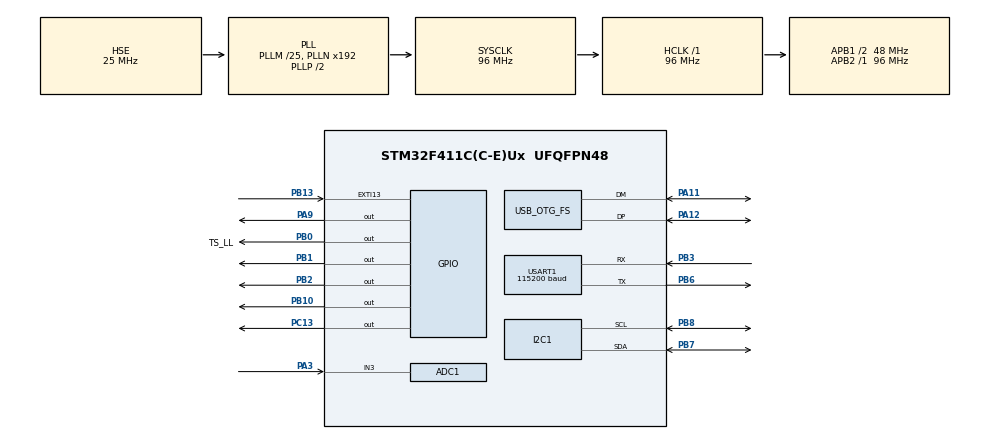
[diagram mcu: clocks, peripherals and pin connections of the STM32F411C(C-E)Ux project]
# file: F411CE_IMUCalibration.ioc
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ADC1.Channel-0\#ChannelRegularConversion=ADC_CHANNEL_3
ADC1.ContinuousConvMode=ENABLE
ADC1.DMAContinuousRequests=ENABLE
ADC1.EOCSelection=ADC_EOC_SEQ_CONV
ADC1.NbrOfConversionFlag=1
ADC1.Rank-0\#ChannelRegularConversion=1
ADC1.SamplingTime-0\#ChannelRegularConversion=ADC_SAMPLETIME_3CYCLES
ADC1.ScanConvMode=DISABLE
ADC1.master=1
Dma.ADC1.0.Direction=DMA_PERIPH_TO_MEMORY
Dma.ADC1.0.FIFOMode=DMA_FIFOMODE_DISABLE
Dma.ADC1.0.Instance=DMA2_Stream0
Dma.ADC1.0.MemDataAlignment=DMA_MDATAALIGN_HALFWORD
Dma.ADC1.0.MemInc=DMA_MINC_ENABLE
Dma.ADC1.0.Mode=DMA_NORMAL
Dma.ADC1.0.PeriphDataAlignment=DMA_PDATAALIGN_HALFWORD
Dma.ADC1.0.PeriphInc=DMA_PINC_DISABLE
Dma.ADC1.0.Priority=DMA_PRIORITY_LOW
Dma.I2C1_RX.1.Direction=DMA_PERIPH_TO_MEMORY
Dma.I2C1_RX.1.FIFOMode=DMA_FIFOMODE_DISABLE
Dma.I2C1_RX.1.Instance=DMA1_Stream0
Dma.I2C1_RX.1.MemDataAlignment=DMA_MDATAALIGN_BYTE
Dma.I2C1_RX.1.MemInc=DMA_MINC_ENABLE
Dma.I2C1_RX.1.Mode=DMA_NORMAL
Dma.I2C1_RX.1.PeriphDataAlignment=DMA_PDATAALIGN_BYTE
Dma.I2C1_RX.1.PeriphInc=DMA_PINC_DISABLE
Dma.I2C1_RX.1.Priority=DMA_PRIORITY_LOW
Dma.Request0=ADC1
Dma.Request1=I2C1_RX
Dma.Request2=USART1_TX
Dma.Request3=USART1_RX
Dma.USART1_RX.3.Direction=DMA_PERIPH_TO_MEMORY
Dma.USART1_RX.3.FIFOMode=DMA_FIFOMODE_DISABLE
Dma.USART1_RX.3.Instance=DMA2_Stream2
Dma.USART1_RX.3.MemDataAlignment=DMA_MDATAALIGN_BYTE
Dma.USART1_RX.3.MemInc=DMA_MINC_ENABLE
Dma.USART1_RX.3.Mode=DMA_NORMAL
Dma.USART1_RX.3.PeriphDataAlignment=DMA_PDATAALIGN_BYTE
Dma.USART1_RX.3.PeriphInc=DMA_PINC_DISABLE
Dma.USART1_RX.3.Priority=DMA_PRIORITY_MEDIUM
Dma.USART1_TX.2.Direction=DMA_MEMORY_TO_PERIPH
Dma.USART1_TX.2.FIFOMode=DMA_FIFOMODE_DISABLE
Dma.USART1_TX.2.Instance=DMA2_Stream7
Dma.USART1_TX.2.MemDataAlignment=DMA_MDATAALIGN_BYTE
Dma.USART1_TX.2.MemInc=DMA_MINC_ENABLE
Dma.USART1_TX.2.Mode=DMA_NORMAL
Dma.USART1_TX.2.PeriphDataAlignment=DMA_PDATAALIGN_BYTE
Dma.USART1_TX.2.PeriphInc=DMA_PINC_DISABLE
Dma.USART1_TX.2.Priority=DMA_PRIORITY_VERY_HIGH
Mcu.Family=STM32F4
Mcu.Name=STM32F411C(C-E)Ux
Mcu.Package=UFQFPN48
NVIC.DMA1_Stream0_IRQn=true\:0\:0\:false\:false\:true\:false\:true
NVIC.DMA2_Stream0_IRQn=true\:0\:0\:false\:false\:true\:false\:true
NVIC.DMA2_Stream2_IRQn=true\:0\:0\:false\:false\:true\:false\:true
NVIC.DMA2_Stream7_IRQn=true\:0\:0\:false\:false\:true\:false\:true
NVIC.EXTI15_10_IRQn=true\:1\:0\:true\:false\:true\:true\:true
NVIC.I2C1_ER_IRQn=true\:0\:0\:false\:false\:true\:true\:true
NVIC.I2C1_EV_IRQn=true\:0\:0\:true\:false\:true\:true\:true
NVIC.OTG_FS_IRQn=true\:0\:0\:false\:false\:true\:false\:true
NVIC.PriorityGroup=NVIC_PRIORITYGROUP_4
NVIC.TIM1_TRG_COM_TIM11_IRQn=true\:0\:0\:false\:false\:true\:true\:true
NVIC.TIM1_UP_TIM10_IRQn=true\:3\:0\:true\:false\:true\:true\:true
NVIC.USART1_IRQn=true\:1\:0\:true\:false\:true\:true\:true
PA11.Mode=Device_Only
PA11.Signal=USB_OTG_FS_DM
PA12.Mode=Device_Only
PA12.Signal=USB_OTG_FS_DP
PA13.Mode=Serial_Wire
PA13.Signal=SYS_JTMS-SWDIO
PA14.Mode=Serial_Wire
PA14.Signal=SYS_JTCK-SWCLK
PA3.Signal=ADCx_IN3
PA9.Signal=GPIO_Output
PB0.GPIO_Label=TS_LL
PB0.Signal=GPIO_Output
PB1.Signal=GPIO_Output
PB10.Signal=GPIO_Output
PB13.Signal=GPXTI13
PB2.Signal=GPIO_Output
PB3.Mode=Asynchronous
PB3.Signal=USART1_RX
PB6.Mode=Asynchronous
PB6.Signal=USART1_TX
PB7.Mode=I2C
PB7.Signal=I2C1_SDA
PB8.Mode=I2C
PB8.Signal=I2C1_SCL
PC13-ANTI_TAMP.Signal=GPIO_Output
PH0\ -\ OSC_IN.Mode=HSE-External-Oscillator
PH0\ -\ OSC_IN.Signal=RCC_OSC_IN
PH1\ -\ OSC_OUT.Mode=HSE-External-Oscillator
PH1\ -\ OSC_OUT.Signal=RCC_OSC_OUT
ProjectManager.HeapSize=0x200
ProjectManager.StackSize=0x400
ProjectManager.TargetToolchain=STM32CubeIDE
RCC.48MHZClocksFreq_Value=48000000
RCC.AHBFreq_Value=96000000
RCC.APB1CLKDivider=RCC_HCLK_DIV2
RCC.APB1Freq_Value=48000000
RCC.APB1TimFreq_Value=96000000
RCC.APB2Freq_Value=96000000
RCC.APB2TimFreq_Value=96000000
RCC.CortexFreq_Value=96000000
RCC.HCLKFreq_Value=96000000
RCC.HSE_VALUE=25000000
RCC.HSI_VALUE=16000000
RCC.LSE_VALUE=32768
RCC.PLLM=25
RCC.SYSCLKFreq_VALUE=96000000
RCC.SYSCLKSource=RCC_SYSCLKSOURCE_PLLCLK
RCC.VCOOutputFreq_Value=192000000
SH.ADCx_IN3.0=ADC1_IN3,IN3
TIM10.Period=150-1
TIM10.Prescaler=96-1
TIM11.Period=10000 - 1
TIM11.Prescaler=96 - 1
TIM9.Prescaler=96-1
USART1.BaudRate=115200
USART1.VirtualMode=VM_ASYNC
USB_DEVICE.CLASS_NAME_FS=CDC
USB_DEVICE.VirtualMode=Cdc
USB_DEVICE.VirtualModeFS=Cdc_FS
USB_OTG_FS.VirtualMode=Device_Only
VP_TIM10_VS_ClockSourceINT.Mode=Enable_Timer
VP_TIM11_VS_ClockSourceINT.Mode=Enable_Timer
VP_TIM5_VS_ClockSourceINT.Mode=Internal
VP_TIM9_VS_ClockSourceINT.Mode=Internal
VP_USB_DEVICE_VS_USB_DEVICE_CDC_FS.Mode=CDC_FS
board=custom

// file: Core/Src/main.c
/* USER CODE BEGIN Header */
/**
  ******************************************************************************
  * @file           : main.c
  * @brief          : Main program body
  ******************************************************************************
  * @attention
  *
  * Copyright (c) 2022 STMicroelectronics.
  * All rights reserved.
  *
  * This software is licensed under terms that can be found in the LICENSE file
  * in the root directory of this software component.
  * If no LICENSE file comes with this software, it is provided AS-IS.
  *
  ******************************************************************************
  */
/* USER CODE END Header */
#include "main.h"
#include "usb_device.h"

ADC_HandleTypeDef hadc1;
DMA_HandleTypeDef hdma_adc1;

I2C_HandleTypeDef hi2c1;
DMA_HandleTypeDef hdma_i2c1_rx;

TIM_HandleTypeDef htim5;
TIM_HandleTypeDef htim9;
TIM_HandleTypeDef htim10;
TIM_HandleTypeDef htim11;

UART_HandleTypeDef huart1;
DMA_HandleTypeDef hdma_usart1_tx;
DMA_HandleTypeDef hdma_usart1_rx;

/* USER CODE BEGIN PV */
extern uint8_t buffer[64]; //receive buffer from USB
/* USER CODE END PV */

void SystemClock_Config(void);
static void MX_GPIO_Init(void);
static void MX_USART1_UART_Init(void);
static void MX_ADC1_Init(void);
static void MX_I2C1_Init(void);
static void MX_TIM11_Init(void);
static void MX_TIM9_Init(void);
static void MX_TIM5_Init(void);
static void MX_DMA_Init(void);
static void MX_TIM10_Init(void);

int main(void)
{

	/* MCU Configuration--------------------------------------------------------*/

	/* Reset of all peripherals, Initializes the Flash interface and the Systick. */
	HAL_Init();

	/* Configure the system clock */
	SystemClock_Config();

	/* Initialize all configured peripherals */
	MX_GPIO_Init();
	MX_USB_DEVICE_Init();
	MX_USART1_UART_Init();
	MX_ADC1_Init();
	MX_I2C1_Init();
	MX_TIM11_Init();
	MX_TIM9_Init();
	MX_TIM5_Init();
	MX_DMA_Init();
	MX_TIM10_Init();
	/* USER CODE BEGIN 2 */

	//Initialization of IMU Variables
	static const uint8_t BNO055_ADDR = 0x28 << 1; //Left shift needed due to 8-bit communication
	static const uint8_t EUL_ADDR = 0x1A; //Found in BNO055 Documentation
	static const uint8_t PWR_MODE = 0x3E; //BNO055 Doc
	static const uint8_t OPR_MODE = 0x3D; //BNO055 Doc
	static const uint8_t UNIT_SEL = 0x3B; //BNO055 Doc
	static const uint8_t AXIS_MAP_SIGN = 0x42; //BNO055 Doc
	static const uint8_t AXIS_MAP_CONFIG = 0x41; //BNO055 Doc
	static const uint8_t GYR_ADDR = 0x14; //Address starting with angular velocity + angular position after 12 bytes
	static const uint8_t CAL_STATUS = 0x35; //BNO055 Doc
	static const uint8_t CAL_CONSTANTS = 0x55;
	static const uint8_t CHIP_ID = 0x00;

	//Simplify this whole section? Should be able to make only one calculation from buf to float value
	int16_t eulheading = 0; //Could I simplify this? probably.. Just make sure it works for now
	int16_t eulroll = 0;
	int16_t eulpitch = 0;

	int16_t gyrx = 0;
	int16_t gyry = 0;
	int16_t gyrz = 0;

	//IMU Parameters:
	float EulerX = 0; //Estimated angular displacement of X axis rotation (gamma)
	float EulerY = 0; //Estimated angular displacement of Y axis rotation (beta)
	float EulerZ = 0; //Estimated angular displacement of Z axis rotation

	float AngularVelX = 0; //Estimated angular velocity of X axis rotation (gamma_dot)
	float AngularVelY = 0; //Estimated angular velocity of Y axis rotation (beta_dot)
	float AngularVelZ = 0; //Estimated angular velocity of Z axis rotation

	HAL_StatusTypeDef ret; //StatusDef to return any errors with IMU communication

	char str[64] = {0}; //for messages to send through I2C

	uint8_t buf[24] = {0}; //Modify size to work with class
	uint8_t calibration = 0;
	char UXinput = 0;

	//Clear buffer and message for next prompt
	memset(buffer, '\0', sizeof(buffer));  // clear the buffer for next message

	HAL_Delay(1000);

	//Rest of initialization
	//Note: Since during system start-up (no multitasking requirement), HAL_Delays are used.

	buf[0] = 0x00; //Put IMU Into Config Mode (How... did I forget this...)

	ret = HAL_I2C_Mem_Write(&hi2c1, BNO055_ADDR, OPR_MODE, I2C_MEMADD_SIZE_8BIT, buf, 1, HAL_MAX_DELAY);
	if ( ret != HAL_OK ) //If BNO055 Device is not found, throw error. Will be important for debugging
	{

	}

	HAL_Delay(100);

	buf[0] = 0x00; //Test for PWR MODE

	ret = HAL_I2C_Mem_Write(&hi2c1, BNO055_ADDR, PWR_MODE, I2C_MEMADD_SIZE_8BIT, buf, 1, HAL_MAX_DELAY);
	if ( ret != HAL_OK ) //If BNO055 Device is not found, throw error. Will be important for debugging
	{

	}

	HAL_Delay(100);

	buf[0] = 0x00; //Set UNIT_SEL for degrees in model

	ret = HAL_I2C_Mem_Write(&hi2c1, BNO055_ADDR, UNIT_SEL, I2C_MEMADD_SIZE_8BIT, buf, 1, HAL_MAX_DELAY);
	if ( ret != HAL_OK ) //If BNO055 Device is not found, throw error. Will be important for debugging
	{

	}

	HAL_Delay(100);

	buf[0] = 0x01; //Configure Axis to be negative sign of both y and z axes due to how BNO055 is attached to platform.

	ret = HAL_I2C_Mem_Write(&hi2c1, BNO055_ADDR, AXIS_MAP_SIGN, I2C_MEMADD_SIZE_8BIT, buf, 1, HAL_MAX_DELAY);
	if ( ret != HAL_OK ) //If BNO055 Device is not found, throw error. Will be important for debugging
	{

	}

	HAL_Delay(100);

	buf[0] = 0x24; //Configure Axis.

	ret = HAL_I2C_Mem_Write(&hi2c1, BNO055_ADDR, AXIS_MAP_CONFIG, I2C_MEMADD_SIZE_8BIT, buf, 1, HAL_MAX_DELAY);
	if ( ret != HAL_OK ) //If BNO055 Device is not found, throw error. Will be important for debugging
	{

	}

	//*====================================*
	// WRITE CALIBRATION CONSTANTS TO IMU
	//*====================================*

	HAL_Delay(100);

	buf[0] = 0x0C; //Put IMU into IMU config mode, starts IMU.

	ret = HAL_I2C_Mem_Write(&hi2c1, BNO055_ADDR, OPR_MODE, I2C_MEMADD_SIZE_8BIT, buf, 1, HAL_MAX_DELAY);
	if ( ret != HAL_OK ) //If BNO055 Device is not found, throw error. Will be important for debugging
	{

	}

	/* USER CODE END 2 */

	/* Infinite loop */
	/* USER CODE BEGIN WHILE */
	while (1)
	{

		HAL_Delay(1000);

		ret = HAL_I2C_Mem_Read(&hi2c1, BNO055_ADDR, CAL_STATUS, I2C_MEMADD_SIZE_8BIT, buf, 1, HAL_MAX_DELAY);
		if ( ret != HAL_OK ) //If BNO055 Device is not found, throw error. Will be important for debugging
		{
			sprintf(str,"Error, cannot connect to IMU\n");
			CDC_Transmit_FS((uint8_t *) str, strlen(str));
		}
		else
		{
			sprintf(str,"Calibration Register: %u\n", buf[0]);
			CDC_Transmit_FS((uint8_t *) str, strlen(str));
		}

		if (buf[0] == 60)
		{
			sprintf(str,"IMU Mode fully calibrated. Gathering values...\n");
			CDC_Transmit_FS((uint8_t *) str, strlen(str));

			//Set IMU into CONFIG mode:
			buf[0] = 0x00; //Put IMU into IMU config mode, starts IMU.

			ret = HAL_I2C_Mem_Write(&hi2c1, BNO055_ADDR, OPR_MODE, I2C_MEMADD_SIZE_8BIT, buf, 1, HAL_MAX_DELAY);
			if ( ret != HAL_OK ) //If BNO055 Device is not found, throw error. Will be important for debugging
			{
				sprintf(str,"Error, cannot connect to IMU\n");
				CDC_Transmit_FS((uint8_t *) str, strlen(str));
			}

			HAL_Delay(10);

			//Read from calibration constant registers:
			ret = HAL_I2C_Mem_Read(&hi2c1, BNO055_ADDR, CAL_CONSTANTS, I2C_MEMADD_SIZE_8BIT, buf, 22, HAL_MAX_DELAY);
			if ( ret != HAL_OK ) //If BNO055 Device is not found, throw error. Will be important for debugging
			{
				sprintf(str,"Error, cannot connect to IMU\n");
				CDC_Transmit_FS((uint8_t *) str, strlen(str));
			}
			else
			{
				sprintf(str,"Values of Calibration Constants:\n");
				CDC_Transmit_FS((uint8_t *) str, strlen(str));

				for(int i = 0; i < 22; i++)
				{
					sprintf(str,"Buffer [%u]: %u\n", i, buf[i]);
					CDC_Transmit_FS((uint8_t *) str, strlen(str));
					HAL_Delay(20);
				}

				HAL_Delay(10000);

				sprintf(str,"Now, value readouts. Press c to read new values, e to end.\n");
				CDC_Transmit_FS((uint8_t *) str, strlen(str));

				//Set IMU into NDOF mode:
				buf[0] = 0x0C; //Put IMU into NDOF, starts IMU.

				ret = HAL_I2C_Mem_Write(&hi2c1, BNO055_ADDR, OPR_MODE, I2C_MEMADD_SIZE_8BIT, buf, 1, HAL_MAX_DELAY);
				if ( ret != HAL_OK ) //If BNO055 Device is not found, throw error. Will be important for debugging
				{
					sprintf(str,"Error, cannot connect to IMU\n");
					CDC_Transmit_FS((uint8_t *) str, strlen(str));
				}

				HAL_Delay(10);

				while(1)
				{
					HAL_Delay(1000);

					HAL_I2C_Mem_Read(&hi2c1, BNO055_ADDR, GYR_ADDR, I2C_MEMADD_SIZE_8BIT, buf, 12, HAL_MAX_DELAY);

					gyrx = (int16_t)buf[0]+(buf[1] << 8); //Bit-shift for MSB register
					gyry = (int16_t)buf[2]+(buf[3] << 8); //Bit-shift for MSB register
					gyrz = (int16_t)buf[4]+(buf[5] << 8); //Bit-shift for MSB register

					eulheading = (int16_t)buf[6]+(buf[7] << 8); //Bit-shift for MSB register
					eulroll = (int16_t)buf[8]+(buf[9] << 8); //Bit-shift for MSB register
					eulpitch = (int16_t)buf[10]+(buf[11] << 8); //Bit-shift for MSB register

					EulerZ = (float)eulheading/(float)16; //Convert to 16 LSB to 1 Degree
					EulerY = (float)eulroll/(float)16; //Convert to 16 LSB to 1 Degree
					EulerX = -(float)eulpitch/(float)16; //Convert to 16 LSB to 1 Degree

					AngularVelX = -(float)gyrx/(float)16;
					AngularVelY = -(float)gyry/(float)16;
					AngularVelZ = (float)gyrz/(float)16;

					//Stretch what an Interrupt can do to see what's possible
					sprintf(str,"X: %.2f Xdot: %.2f Y: %.2f Ydot: %.2f\n",
							EulerX, AngularVelX, EulerY, AngularVelY);

					CDC_Transmit_FS((uint8_t *) str, strlen(str));

					if (buffer[0] != '\0')
					{

						UXinput = '\0';

						UXinput = buffer[0];

						//Clear buffer and message for next prompt
						memset(buffer, '\0', sizeof(buffer));  // clear the buffer for next message

						if(UXinput == 'c')
						{
							//Read from calibration constant registers:
							ret = HAL_I2C_Mem_Read(&hi2c1, BNO055_ADDR, CAL_CONSTANTS, I2C_MEMADD_SIZE_8BIT, buf, 22, HAL_MAX_DELAY);
							if ( ret != HAL_OK ) //If BNO055 Device is not found, throw error. Will be important for debugging
							{
								sprintf(str,"Error, cannot connect to IMU\n");
								CDC_Transmit_FS((uint8_t *) str, strlen(str));
							}
							else
							{
								sprintf(str,"Values of New Calibration Constants:\n");
								CDC_Transmit_FS((uint8_t *) str, strlen(str));

								for(int i = 0; i < 22; i++)
								{
									sprintf(str,"Buffer [%u]: %u\n", i, buf[i]);
									CDC_Transmit_FS((uint8_t *) str, strlen(str));
									HAL_Delay(5);
								}

								HAL_Delay(10000);
								sprintf(str,"Now, value readouts. Press c to read new values, e to end.\n");
								CDC_Transmit_FS((uint8_t *) str, strlen(str));
							}
						}
						else if (UXinput == 'e')
						{
							sprintf(str,"Program Ending.");
							CDC_Transmit_FS((uint8_t *) str, strlen(str));

							HAL_Delay(1000);

							return;
						}
					}
				}

			}
		}
	}
}

    /* USER CODE END WHILE */

void SystemClock_Config(void)
{
  RCC_OscInitTypeDef RCC_OscInitStruct = {0};
  RCC_ClkInitTypeDef RCC_ClkInitStruct = {0};

  /** Configure the main internal regulator output voltage
  */
  __HAL_RCC_PWR_CLK_ENABLE();
  __HAL_PWR_VOLTAGESCALING_CONFIG(PWR_REGULATOR_VOLTAGE_SCALE1);
  /** Initializes the RCC Oscillators according to the specified parameters
  * in the RCC_OscInitTypeDef structure.
  */
  RCC_OscInitStruct.OscillatorType = RCC_OSCILLATORTYPE_HSE;
  RCC_OscInitStruct.HSEState = RCC_HSE_ON;
  RCC_OscInitStruct.PLL.PLLState = RCC_PLL_ON;
  RCC_OscInitStruct.PLL.PLLSource = RCC_PLLSOURCE_HSE;
  RCC_OscInitStruct.PLL.PLLM = 25;
  RCC_OscInitStruct.PLL.PLLN = 192;
  RCC_OscInitStruct.PLL.PLLP = RCC_PLLP_DIV2;
  RCC_OscInitStruct.PLL.PLLQ = 4;
  if (HAL_RCC_OscConfig(&RCC_OscInitStruct) != HAL_OK)
  {
    Error_Handler();
  }
  /** Initializes the CPU, AHB and APB buses clocks
  */
  RCC_ClkInitStruct.ClockType = RCC_CLOCKTYPE_HCLK|RCC_CLOCKTYPE_SYSCLK
                              |RCC_CLOCKTYPE_PCLK1|RCC_CLOCKTYPE_PCLK2;
  RCC_ClkInitStruct.SYSCLKSource = RCC_SYSCLKSOURCE_PLLCLK;
  RCC_ClkInitStruct.AHBCLKDivider = RCC_SYSCLK_DIV1;
  RCC_ClkInitStruct.APB1CLKDivider = RCC_HCLK_DIV2;
  RCC_ClkInitStruct.APB2CLKDivider = RCC_HCLK_DIV1;

  if (HAL_RCC_ClockConfig(&RCC_ClkInitStruct, FLASH_LATENCY_3) != HAL_OK)
  {
    Error_Handler();
  }
}

static void MX_ADC1_Init(void)
{

  ADC_ChannelConfTypeDef sConfig = {0};

  /** Configure the global features of the ADC (Clock, Resolution, Data Alignment and number of conversion)
  */
  hadc1.Instance = ADC1;
  hadc1.Init.ClockPrescaler = ADC_CLOCK_SYNC_PCLK_DIV4;
  hadc1.Init.Resolution = ADC_RESOLUTION_12B;
  hadc1.Init.ScanConvMode = DISABLE;
  hadc1.Init.ContinuousConvMode = ENABLE;
  hadc1.Init.DiscontinuousConvMode = DISABLE;
  hadc1.Init.ExternalTrigConvEdge = ADC_EXTERNALTRIGCONVEDGE_NONE;
  hadc1.Init.ExternalTrigConv = ADC_SOFTWARE_START;
  hadc1.Init.DataAlign = ADC_DATAALIGN_RIGHT;
  hadc1.Init.NbrOfConversion = 1;
  hadc1.Init.DMAContinuousRequests = ENABLE;
  hadc1.Init.EOCSelection = ADC_EOC_SEQ_CONV;
  if (HAL_ADC_Init(&hadc1) != HAL_OK)
  {
    Error_Handler();
  }
  /** Configure for the selected ADC regular channel its corresponding rank in the sequencer and its sample time.
  */
  sConfig.Channel = ADC_CHANNEL_3;
  sConfig.Rank = 1;
  sConfig.SamplingTime = ADC_SAMPLETIME_3CYCLES;
  if (HAL_ADC_ConfigChannel(&hadc1, &sConfig) != HAL_OK)
  {
    Error_Handler();
  }

}

static void MX_I2C1_Init(void)
{

  hi2c1.Instance = I2C1;
  hi2c1.Init.ClockSpeed = 100000;
  hi2c1.Init.DutyCycle = I2C_DUTYCYCLE_2;
  hi2c1.Init.OwnAddress1 = 0;
  hi2c1.Init.AddressingMode = I2C_ADDRESSINGMODE_7BIT;
  hi2c1.Init.DualAddressMode = I2C_DUALADDRESS_DISABLE;
  hi2c1.Init.OwnAddress2 = 0;
  hi2c1.Init.GeneralCallMode = I2C_GENERALCALL_DISABLE;
  hi2c1.Init.NoStretchMode = I2C_NOSTRETCH_DISABLE;
  if (HAL_I2C_Init(&hi2c1) != HAL_OK)
  {
    Error_Handler();
  }

}

static void MX_TIM5_Init(void)
{

  TIM_ClockConfigTypeDef sClockSourceConfig = {0};
  TIM_MasterConfigTypeDef sMasterConfig = {0};

  htim5.Instance = TIM5;
  htim5.Init.Prescaler = 0;
  htim5.Init.CounterMode = TIM_COUNTERMODE_UP;
  htim5.Init.Period = 4294967295;
  htim5.Init.ClockDivision = TIM_CLOCKDIVISION_DIV1;
  htim5.Init.AutoReloadPreload = TIM_AUTORELOAD_PRELOAD_DISABLE;
  if (HAL_TIM_Base_Init(&htim5) != HAL_OK)
  {
    Error_Handler();
  }
  sClockSourceConfig.ClockSource = TIM_CLOCKSOURCE_INTERNAL;
  if (HAL_TIM_ConfigClockSource(&htim5, &sClockSourceConfig) != HAL_OK)
  {
    Error_Handler();
  }
  sMasterConfig.MasterOutputTrigger = TIM_TRGO_RESET;
  sMasterConfig.MasterSlaveMode = TIM_MASTERSLAVEMODE_DISABLE;
  if (HAL_TIMEx_MasterConfigSynchronization(&htim5, &sMasterConfig) != HAL_OK)
  {
    Error_Handler();
  }

}

static void MX_TIM9_Init(void)
{

  TIM_ClockConfigTypeDef sClockSourceConfig = {0};

  htim9.Instance = TIM9;
  htim9.Init.Prescaler = 96-1;
  htim9.Init.CounterMode = TIM_COUNTERMODE_UP;
  htim9.Init.Period = 65535;
  htim9.Init.ClockDivision = TIM_CLOCKDIVISION_DIV1;
  htim9.Init.AutoReloadPreload = TIM_AUTORELOAD_PRELOAD_DISABLE;
  if (HAL_TIM_Base_Init(&htim9) != HAL_OK)
  {
    Error_Handler();
  }
  sClockSourceConfig.ClockSource = TIM_CLOCKSOURCE_INTERNAL;
  if (HAL_TIM_ConfigClockSource(&htim9, &sClockSourceConfig) != HAL_OK)
  {
    Error_Handler();
  }

}

static void MX_TIM10_Init(void)
{

  htim10.Instance = TIM10;
  htim10.Init.Prescaler = 96-1;
  htim10.Init.CounterMode = TIM_COUNTERMODE_UP;
  htim10.Init.Period = 150-1;
  htim10.Init.ClockDivision = TIM_CLOCKDIVISION_DIV1;
  htim10.Init.AutoReloadPreload = TIM_AUTORELOAD_PRELOAD_DISABLE;
  if (HAL_TIM_Base_Init(&htim10) != HAL_OK)
  {
    Error_Handler();
  }

}

static void MX_TIM11_Init(void)
{

  htim11.Instance = TIM11;
  htim11.Init.Prescaler = 96 - 1;
  htim11.Init.CounterMode = TIM_COUNTERMODE_UP;
  htim11.Init.Period = 10000 - 1;
  htim11.Init.ClockDivision = TIM_CLOCKDIVISION_DIV1;
  htim11.Init.AutoReloadPreload = TIM_AUTORELOAD_PRELOAD_DISABLE;
  if (HAL_TIM_Base_Init(&htim11) != HAL_OK)
  {
    Error_Handler();
  }

}

static void MX_USART1_UART_Init(void)
{

  huart1.Instance = USART1;
  huart1.Init.BaudRate = 115200;
  huart1.Init.WordLength = UART_WORDLENGTH_8B;
  huart1.Init.StopBits = UART_STOPBITS_1;
  huart1.Init.Parity = UART_PARITY_NONE;
  huart1.Init.Mode = UART_MODE_TX_RX;
  huart1.Init.HwFlowCtl = UART_HWCONTROL_NONE;
  huart1.Init.OverSampling = UART_OVERSAMPLING_16;
  if (HAL_UART_Init(&huart1) != HAL_OK)
  {
    Error_Handler();
  }

}

static void MX_DMA_Init(void)
{

  /* DMA controller clock enable */
  __HAL_RCC_DMA2_CLK_ENABLE();
  __HAL_RCC_DMA1_CLK_ENABLE();

  /* DMA interrupt init */
  /* DMA1_Stream0_IRQn interrupt configuration */
  HAL_NVIC_SetPriority(DMA1_Stream0_IRQn, 0, 0);
  HAL_NVIC_EnableIRQ(DMA1_Stream0_IRQn);
  /* DMA2_Stream0_IRQn interrupt configuration */
  HAL_NVIC_SetPriority(DMA2_Stream0_IRQn, 0, 0);
  HAL_NVIC_EnableIRQ(DMA2_Stream0_IRQn);
  /* DMA2_Stream2_IRQn interrupt configuration */
  HAL_NVIC_SetPriority(DMA2_Stream2_IRQn, 0, 0);
  HAL_NVIC_EnableIRQ(DMA2_Stream2_IRQn);
  /* DMA2_Stream7_IRQn interrupt configuration */
  HAL_NVIC_SetPriority(DMA2_Stream7_IRQn, 0, 0);
  HAL_NVIC_EnableIRQ(DMA2_Stream7_IRQn);

}

static void MX_GPIO_Init(void)
{
  GPIO_InitTypeDef GPIO_InitStruct = {0};

  /* GPIO Ports Clock Enable */
  __HAL_RCC_GPIOC_CLK_ENABLE();
  __HAL_RCC_GPIOH_CLK_ENABLE();
  __HAL_RCC_GPIOA_CLK_ENABLE();
  __HAL_RCC_GPIOB_CLK_ENABLE();

  /*Configure GPIO pin Output Level */
  HAL_GPIO_WritePin(GPIOC, GPIO_PIN_13, GPIO_PIN_RESET);

  /*Configure GPIO pin Output Level */
  HAL_GPIO_WritePin(GPIOB, TS_LL_Pin|GPIO_PIN_1|GPIO_PIN_2|GPIO_PIN_10, GPIO_PIN_RESET);

  /*Configure GPIO pin Output Level */
  HAL_GPIO_WritePin(GPIOA, GPIO_PIN_9, GPIO_PIN_RESET);

  /*Configure GPIO pin : PC13 */
  GPIO_InitStruct.Pin = GPIO_PIN_13;
  GPIO_InitStruct.Mode = GPIO_MODE_OUTPUT_PP;
  GPIO_InitStruct.Pull = GPIO_NOPULL;
  GPIO_InitStruct.Speed = GPIO_SPEED_FREQ_LOW;
  HAL_GPIO_Init(GPIOC, &GPIO_InitStruct);

  /*Configure GPIO pins : TS_LL_Pin PB1 PB2 PB10 */
  GPIO_InitStruct.Pin = TS_LL_Pin|GPIO_PIN_1|GPIO_PIN_2|GPIO_PIN_10;
  GPIO_InitStruct.Mode = GPIO_MODE_OUTPUT_PP;
  GPIO_InitStruct.Pull = GPIO_NOPULL;
  GPIO_InitStruct.Speed = GPIO_SPEED_FREQ_LOW;
  HAL_GPIO_Init(GPIOB, &GPIO_InitStruct);

  /*Configure GPIO pin : PB13 */
  GPIO_InitStruct.Pin = GPIO_PIN_13;
  GPIO_InitStruct.Mode = GPIO_MODE_IT_RISING;
  GPIO_InitStruct.Pull = GPIO_NOPULL;
  HAL_GPIO_Init(GPIOB, &GPIO_InitStruct);

  /*Configure GPIO pin : PA9 */
  GPIO_InitStruct.Pin = GPIO_PIN_9;
  GPIO_InitStruct.Mode = GPIO_MODE_OUTPUT_PP;
  GPIO_InitStruct.Pull = GPIO_NOPULL;
  GPIO_InitStruct.Speed = GPIO_SPEED_FREQ_LOW;
  HAL_GPIO_Init(GPIOA, &GPIO_InitStruct);

  /* EXTI interrupt init*/
  HAL_NVIC_SetPriority(EXTI15_10_IRQn, 1, 0);
  HAL_NVIC_EnableIRQ(EXTI15_10_IRQn);

}

void Error_Handler(void)
{
  __disable_irq();
  while (1)
  {
  }
}
